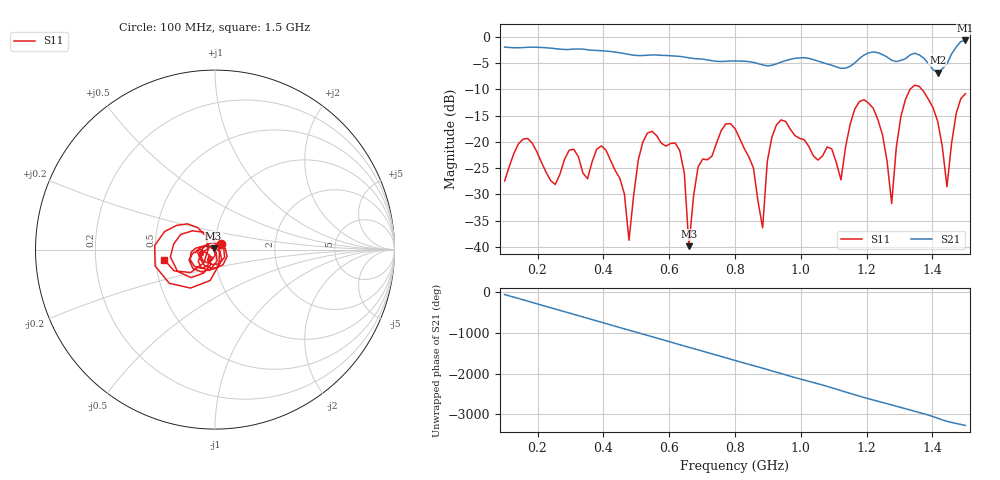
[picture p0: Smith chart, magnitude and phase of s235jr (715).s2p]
! NanoVNA-App
! Date: 2025-09-25 15:09:44
! Start: 100MHz Stop: 1,5GHz Points: 101
! S-Parameter data: F S11 S21 S12 S22
# Hz S RI R 50
!  Frequency  S11_Real  S11_Imag  S21_Real  S21_Imag  S12_Real  S12_Imag  S22_Real  S22_Imag
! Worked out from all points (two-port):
!   101 points, 100 MHz to 1.5 GHz, reference 50 ohm
!   highest |S21| = -0.70 dB at 1.5 GHz (marker M1); lowest = -6.8 dB at 1.416 GHz (marker M2)
!   |S21| within 3 dB of the highest: start of sweep to 624.4 MHz; 1.187 GHz to 1.257 GHz (70.08 MHz wide, 5.73 % of centre) (the widest 2 of 4)
!   lowest |S11| = -39.9 dB at 660 MHz (marker M3), VSWR 1.02, Z = 49.2 + j0.614 ohm
!   |S11| at or under -10 dB: start of sweep to 1.332 GHz; 1.367 GHz to end of sweep
!   S12 and S22 are empty: the file has one direction only
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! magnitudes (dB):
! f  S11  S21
! 100 MHz  -27.5  -2.0
! 170 MHz  -19.4  -2.0
! 338 MHz  -26.0  -2.3
! 408 MHz  -21.6  -2.7
! 478 MHz  -38.8  -3.4
! 520 MHz  -20.1  -3.6
! 576 MHz  -20.3  -3.5
! 632 MHz  -21.6  -3.7
! 660 MHz  -39.9  -4.0
! 688 MHz  -24.7  -4.2
! 800 MHz  -17.5  -4.6
! 884 MHz  -36.4  -5.4
! 926 MHz  -16.8  -5.1
! 1.038 GHz  -22.7  -4.4
! 1.122 GHz  -27.3  -6.0
! 1.192 GHz  -12.0  -3.5
! 1.248 GHz  -18.6  -3.4
! 1.276 GHz  -31.8  -4.5
! 1.332 GHz  -10.0  -3.5
! 1.416 GHz  -16.1  -6.8
! 1.444 GHz  -28.6  -5.1
! 1.5 GHz  -10.8  -0.7
